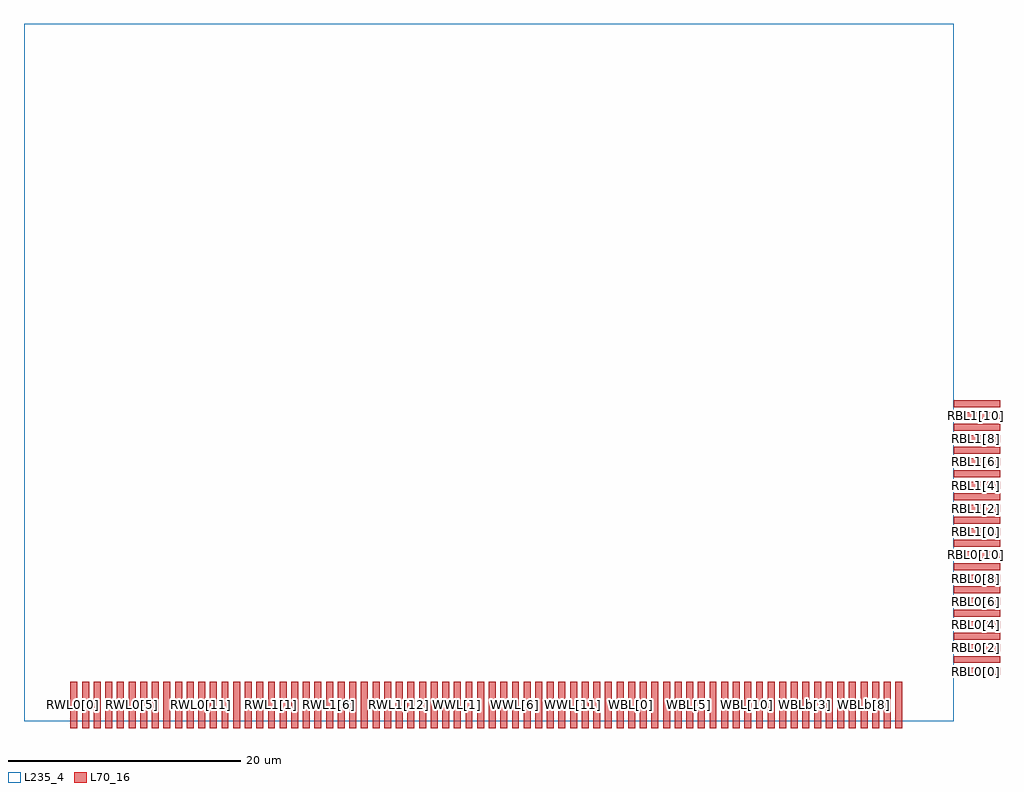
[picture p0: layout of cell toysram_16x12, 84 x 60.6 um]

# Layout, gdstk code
import gdstk
lib = gdstk.Library(unit=1e-6, precision=1e-09)
def R(c, l, rs):  # rectangles x0, y0, x1, y1
    for r in rs: c.add(gdstk.rectangle(r[:2], r[2:], *l))
L70_16 = (70, 16)
L235_4 = (235, 4)

rwl0_0_ = lib.new_cell('RWL0[0]')
R(rwl0_0_, L70_16, [(4,-0.6,4.6,3.4)])

rwl0_1_ = lib.new_cell('RWL0[1]')
R(rwl0_1_, L70_16, [(5,-0.6,5.6,3.4)])

rwl0_2_ = lib.new_cell('RWL0[2]')
R(rwl0_2_, L70_16, [(6,-0.6,6.6,3.4)])

rwl0_3_ = lib.new_cell('RWL0[3]')
R(rwl0_3_, L70_16, [(7,-0.6,7.6,3.4)])

rwl0_4_ = lib.new_cell('RWL0[4]')
R(rwl0_4_, L70_16, [(8,-0.6,8.6,3.4)])

rwl0_5_ = lib.new_cell('RWL0[5]')
R(rwl0_5_, L70_16, [(9,-0.6,9.6,3.4)])

rwl0_6_ = lib.new_cell('RWL0[6]')
R(rwl0_6_, L70_16, [(10,-0.6,10.6,3.4)])

rwl0_7_ = lib.new_cell('RWL0[7]')
R(rwl0_7_, L70_16, [(11,-0.6,11.6,3.4)])

rwl0_8_ = lib.new_cell('RWL0[8]')
R(rwl0_8_, L70_16, [(12,-0.6,12.6,3.4)])

rwl0_9_ = lib.new_cell('RWL0[9]')
R(rwl0_9_, L70_16, [(13,-0.6,13.6,3.4)])

rwl0_10_ = lib.new_cell('RWL0[10]')
R(rwl0_10_, L70_16, [(14,-0.6,14.6,3.4)])

rwl0_11_ = lib.new_cell('RWL0[11]')
R(rwl0_11_, L70_16, [(15,-0.6,15.6,3.4)])

rwl0_12_ = lib.new_cell('RWL0[12]')
R(rwl0_12_, L70_16, [(16,-0.6,16.6,3.4)])

rwl0_13_ = lib.new_cell('RWL0[13]')
R(rwl0_13_, L70_16, [(17,-0.6,17.6,3.4)])

rwl0_14_ = lib.new_cell('RWL0[14]')
R(rwl0_14_, L70_16, [(18,-0.6,18.6,3.4)])

rwl0_15_ = lib.new_cell('RWL0[15]')
R(rwl0_15_, L70_16, [(19,-0.6,19.6,3.4)])

rwl1_0_ = lib.new_cell('RWL1[0]')
R(rwl1_0_, L70_16, [(20,-0.6,20.6,3.4)])

rwl1_1_ = lib.new_cell('RWL1[1]')
R(rwl1_1_, L70_16, [(21,-0.6,21.6,3.4)])

rwl1_2_ = lib.new_cell('RWL1[2]')
R(rwl1_2_, L70_16, [(22,-0.6,22.6,3.4)])

rwl1_3_ = lib.new_cell('RWL1[3]')
R(rwl1_3_, L70_16, [(23,-0.6,23.6,3.4)])

rwl1_4_ = lib.new_cell('RWL1[4]')
R(rwl1_4_, L70_16, [(24,-0.6,24.6,3.4)])

rwl1_5_ = lib.new_cell('RWL1[5]')
R(rwl1_5_, L70_16, [(25,-0.6,25.6,3.4)])

rwl1_6_ = lib.new_cell('RWL1[6]')
R(rwl1_6_, L70_16, [(26,-0.6,26.6,3.4)])

rwl1_7_ = lib.new_cell('RWL1[7]')
R(rwl1_7_, L70_16, [(27,-0.6,27.6,3.4)])

rwl1_8_ = lib.new_cell('RWL1[8]')
R(rwl1_8_, L70_16, [(28,-0.6,28.6,3.4)])

rwl1_9_ = lib.new_cell('RWL1[9]')
R(rwl1_9_, L70_16, [(29,-0.6,29.6,3.4)])

rwl1_10_ = lib.new_cell('RWL1[10]')
R(rwl1_10_, L70_16, [(30,-0.6,30.6,3.4)])

rwl1_11_ = lib.new_cell('RWL1[11]')
R(rwl1_11_, L70_16, [(31,-0.6,31.6,3.4)])

rwl1_12_ = lib.new_cell('RWL1[12]')
R(rwl1_12_, L70_16, [(32,-0.6,32.6,3.4)])

rwl1_13_ = lib.new_cell('RWL1[13]')
R(rwl1_13_, L70_16, [(33,-0.6,33.6,3.4)])

rwl1_14_ = lib.new_cell('RWL1[14]')
R(rwl1_14_, L70_16, [(34,-0.6,34.6,3.4)])

rwl1_15_ = lib.new_cell('RWL1[15]')
R(rwl1_15_, L70_16, [(35,-0.6,35.6,3.4)])

wwl_0_ = lib.new_cell('WWL[0]')
R(wwl_0_, L70_16, [(36,-0.6,36.6,3.4)])

wwl_1_ = lib.new_cell('WWL[1]')
R(wwl_1_, L70_16, [(37,-0.6,37.6,3.4)])

wwl_2_ = lib.new_cell('WWL[2]')
R(wwl_2_, L70_16, [(38,-0.6,38.6,3.4)])

wwl_3_ = lib.new_cell('WWL[3]')
R(wwl_3_, L70_16, [(39,-0.6,39.6,3.4)])

wwl_4_ = lib.new_cell('WWL[4]')
R(wwl_4_, L70_16, [(40,-0.6,40.6,3.4)])

wwl_5_ = lib.new_cell('WWL[5]')
R(wwl_5_, L70_16, [(41,-0.6,41.6,3.4)])

wwl_6_ = lib.new_cell('WWL[6]')
R(wwl_6_, L70_16, [(42,-0.6,42.6,3.4)])

wwl_7_ = lib.new_cell('WWL[7]')
R(wwl_7_, L70_16, [(43,-0.6,43.6,3.4)])

wwl_8_ = lib.new_cell('WWL[8]')
R(wwl_8_, L70_16, [(44,-0.6,44.6,3.4)])

wwl_9_ = lib.new_cell('WWL[9]')
R(wwl_9_, L70_16, [(45,-0.6,45.6,3.4)])

wwl_10_ = lib.new_cell('WWL[10]')
R(wwl_10_, L70_16, [(46,-0.6,46.6,3.4)])

wwl_11_ = lib.new_cell('WWL[11]')
R(wwl_11_, L70_16, [(47,-0.6,47.6,3.4)])

wwl_12_ = lib.new_cell('WWL[12]')
R(wwl_12_, L70_16, [(48,-0.6,48.6,3.4)])

wwl_13_ = lib.new_cell('WWL[13]')
R(wwl_13_, L70_16, [(49,-0.6,49.6,3.4)])

wwl_14_ = lib.new_cell('WWL[14]')
R(wwl_14_, L70_16, [(50,-0.6,50.6,3.4)])

wwl_15_ = lib.new_cell('WWL[15]')
R(wwl_15_, L70_16, [(51,-0.6,51.6,3.4)])

rbl0_0_ = lib.new_cell('RBL0[0]')
R(rbl0_0_, L70_16, [(80,4,84,4.6)])

rbl0_1_ = lib.new_cell('RBL0[1]')
R(rbl0_1_, L70_16, [(80,5,84,5.6)])

rbl0_2_ = lib.new_cell('RBL0[2]')
R(rbl0_2_, L70_16, [(80,6,84,6.6)])

rbl0_3_ = lib.new_cell('RBL0[3]')
R(rbl0_3_, L70_16, [(80,7,84,7.6)])

rbl0_4_ = lib.new_cell('RBL0[4]')
R(rbl0_4_, L70_16, [(80,8,84,8.6)])

rbl0_5_ = lib.new_cell('RBL0[5]')
R(rbl0_5_, L70_16, [(80,9,84,9.6)])

rbl0_6_ = lib.new_cell('RBL0[6]')
R(rbl0_6_, L70_16, [(80,10,84,10.6)])

rbl0_7_ = lib.new_cell('RBL0[7]')
R(rbl0_7_, L70_16, [(80,11,84,11.6)])

rbl0_8_ = lib.new_cell('RBL0[8]')
R(rbl0_8_, L70_16, [(80,12,84,12.6)])

rbl0_9_ = lib.new_cell('RBL0[9]')
R(rbl0_9_, L70_16, [(80,13,84,13.6)])

rbl0_10_ = lib.new_cell('RBL0[10]')
R(rbl0_10_, L70_16, [(80,14,84,14.6)])

rbl0_11_ = lib.new_cell('RBL0[11]')
R(rbl0_11_, L70_16, [(80,15,84,15.6)])

rbl1_0_ = lib.new_cell('RBL1[0]')
R(rbl1_0_, L70_16, [(80,16,84,16.6)])

rbl1_1_ = lib.new_cell('RBL1[1]')
R(rbl1_1_, L70_16, [(80,17,84,17.6)])

rbl1_2_ = lib.new_cell('RBL1[2]')
R(rbl1_2_, L70_16, [(80,18,84,18.6)])

rbl1_3_ = lib.new_cell('RBL1[3]')
R(rbl1_3_, L70_16, [(80,19,84,19.6)])

rbl1_4_ = lib.new_cell('RBL1[4]')
R(rbl1_4_, L70_16, [(80,20,84,20.6)])

rbl1_5_ = lib.new_cell('RBL1[5]')
R(rbl1_5_, L70_16, [(80,21,84,21.6)])

rbl1_6_ = lib.new_cell('RBL1[6]')
R(rbl1_6_, L70_16, [(80,22,84,22.6)])

rbl1_7_ = lib.new_cell('RBL1[7]')
R(rbl1_7_, L70_16, [(80,23,84,23.6)])

rbl1_8_ = lib.new_cell('RBL1[8]')
R(rbl1_8_, L70_16, [(80,24,84,24.6)])

rbl1_9_ = lib.new_cell('RBL1[9]')
R(rbl1_9_, L70_16, [(80,25,84,25.6)])

rbl1_10_ = lib.new_cell('RBL1[10]')
R(rbl1_10_, L70_16, [(80,26,84,26.6)])

rbl1_11_ = lib.new_cell('RBL1[11]')
R(rbl1_11_, L70_16, [(80,27,84,27.6)])

wbl_0_ = lib.new_cell('WBL[0]')
R(wbl_0_, L70_16, [(52,-0.6,52.6,3.4)])

wbl_1_ = lib.new_cell('WBL[1]')
R(wbl_1_, L70_16, [(53,-0.6,53.6,3.4)])

wbl_2_ = lib.new_cell('WBL[2]')
R(wbl_2_, L70_16, [(54,-0.6,54.6,3.4)])

wbl_3_ = lib.new_cell('WBL[3]')
R(wbl_3_, L70_16, [(55,-0.6,55.6,3.4)])

wbl_4_ = lib.new_cell('WBL[4]')
R(wbl_4_, L70_16, [(56,-0.6,56.6,3.4)])

wbl_5_ = lib.new_cell('WBL[5]')
R(wbl_5_, L70_16, [(57,-0.6,57.6,3.4)])

wbl_6_ = lib.new_cell('WBL[6]')
R(wbl_6_, L70_16, [(58,-0.6,58.6,3.4)])

wbl_7_ = lib.new_cell('WBL[7]')
R(wbl_7_, L70_16, [(59,-0.6,59.6,3.4)])

wbl_8_ = lib.new_cell('WBL[8]')
R(wbl_8_, L70_16, [(60,-0.6,60.6,3.4)])

wbl_9_ = lib.new_cell('WBL[9]')
R(wbl_9_, L70_16, [(61,-0.6,61.6,3.4)])

wbl_10_ = lib.new_cell('WBL[10]')
R(wbl_10_, L70_16, [(62,-0.6,62.6,3.4)])

wbl_11_ = lib.new_cell('WBL[11]')
R(wbl_11_, L70_16, [(63,-0.6,63.6,3.4)])

wblb_0_ = lib.new_cell('WBLb[0]')
R(wblb_0_, L70_16, [(64,-0.6,64.6,3.4)])

wblb_1_ = lib.new_cell('WBLb[1]')
R(wblb_1_, L70_16, [(65,-0.6,65.6,3.4)])

wblb_2_ = lib.new_cell('WBLb[2]')
R(wblb_2_, L70_16, [(66,-0.6,66.6,3.4)])

wblb_3_ = lib.new_cell('WBLb[3]')
R(wblb_3_, L70_16, [(67,-0.6,67.6,3.4)])

wblb_4_ = lib.new_cell('WBLb[4]')
R(wblb_4_, L70_16, [(68,-0.6,68.6,3.4)])

wblb_5_ = lib.new_cell('WBLb[5]')
R(wblb_5_, L70_16, [(69,-0.6,69.6,3.4)])

wblb_6_ = lib.new_cell('WBLb[6]')
R(wblb_6_, L70_16, [(70,-0.6,70.6,3.4)])

wblb_7_ = lib.new_cell('WBLb[7]')
R(wblb_7_, L70_16, [(71,-0.6,71.6,3.4)])

wblb_8_ = lib.new_cell('WBLb[8]')
R(wblb_8_, L70_16, [(72,-0.6,72.6,3.4)])

wblb_9_ = lib.new_cell('WBLb[9]')
R(wblb_9_, L70_16, [(73,-0.6,73.6,3.4)])

wblb_10_ = lib.new_cell('WBLb[10]')
R(wblb_10_, L70_16, [(74,-0.6,74.6,3.4)])

wblb_11_ = lib.new_cell('WBLb[11]')
R(wblb_11_, L70_16, [(75,-0.6,75.6,3.4)])

toysram_16x12 = lib.new_cell('toysram_16x12')
R(toysram_16x12, L235_4, [(0,0,80,60)])
toysram_16x12.add(gdstk.Reference(rwl0_0_, (0,0)))
toysram_16x12.add(gdstk.Reference(rwl0_1_, (0,0)))
toysram_16x12.add(gdstk.Reference(rwl0_2_, (0,0)))
toysram_16x12.add(gdstk.Reference(rwl0_3_, (0,0)))
toysram_16x12.add(gdstk.Reference(rwl0_4_, (0,0)))
toysram_16x12.add(gdstk.Reference(rwl0_5_, (0,0)))
toysram_16x12.add(gdstk.Reference(rwl0_6_, (0,0)))
toysram_16x12.add(gdstk.Reference(rwl0_7_, (0,0)))
toysram_16x12.add(gdstk.Reference(rwl0_8_, (0,0)))
toysram_16x12.add(gdstk.Reference(rwl0_9_, (0,0)))
toysram_16x12.add(gdstk.Reference(rwl0_10_, (0,0)))
toysram_16x12.add(gdstk.Reference(rwl0_11_, (0,0)))
toysram_16x12.add(gdstk.Reference(rwl0_12_, (0,0)))
toysram_16x12.add(gdstk.Reference(rwl0_13_, (0,0)))
toysram_16x12.add(gdstk.Reference(rwl0_14_, (0,0)))
toysram_16x12.add(gdstk.Reference(rwl0_15_, (0,0)))
toysram_16x12.add(gdstk.Reference(rwl1_0_, (0,0)))
toysram_16x12.add(gdstk.Reference(rwl1_1_, (0,0)))
toysram_16x12.add(gdstk.Reference(rwl1_2_, (0,0)))
toysram_16x12.add(gdstk.Reference(rwl1_3_, (0,0)))
toysram_16x12.add(gdstk.Reference(rwl1_4_, (0,0)))
toysram_16x12.add(gdstk.Reference(rwl1_5_, (0,0)))
toysram_16x12.add(gdstk.Reference(rwl1_6_, (0,0)))
toysram_16x12.add(gdstk.Reference(rwl1_7_, (0,0)))
toysram_16x12.add(gdstk.Reference(rwl1_8_, (0,0)))
toysram_16x12.add(gdstk.Reference(rwl1_9_, (0,0)))
toysram_16x12.add(gdstk.Reference(rwl1_10_, (0,0)))
toysram_16x12.add(gdstk.Reference(rwl1_11_, (0,0)))
toysram_16x12.add(gdstk.Reference(rwl1_12_, (0,0)))
toysram_16x12.add(gdstk.Reference(rwl1_13_, (0,0)))
toysram_16x12.add(gdstk.Reference(rwl1_14_, (0,0)))
toysram_16x12.add(gdstk.Reference(rwl1_15_, (0,0)))
toysram_16x12.add(gdstk.Reference(wwl_0_, (0,0)))
toysram_16x12.add(gdstk.Reference(wwl_1_, (0,0)))
toysram_16x12.add(gdstk.Reference(wwl_2_, (0,0)))
toysram_16x12.add(gdstk.Reference(wwl_3_, (0,0)))
toysram_16x12.add(gdstk.Reference(wwl_4_, (0,0)))
toysram_16x12.add(gdstk.Reference(wwl_5_, (0,0)))
toysram_16x12.add(gdstk.Reference(wwl_6_, (0,0)))
toysram_16x12.add(gdstk.Reference(wwl_7_, (0,0)))
toysram_16x12.add(gdstk.Reference(wwl_8_, (0,0)))
toysram_16x12.add(gdstk.Reference(wwl_9_, (0,0)))
toysram_16x12.add(gdstk.Reference(wwl_10_, (0,0)))
toysram_16x12.add(gdstk.Reference(wwl_11_, (0,0)))
toysram_16x12.add(gdstk.Reference(wwl_12_, (0,0)))
toysram_16x12.add(gdstk.Reference(wwl_13_, (0,0)))
toysram_16x12.add(gdstk.Reference(wwl_14_, (0,0)))
toysram_16x12.add(gdstk.Reference(wwl_15_, (0,0)))
toysram_16x12.add(gdstk.Reference(rbl0_0_, (0,0)))
toysram_16x12.add(gdstk.Reference(rbl0_1_, (0,0)))
toysram_16x12.add(gdstk.Reference(rbl0_2_, (0,0)))
toysram_16x12.add(gdstk.Reference(rbl0_3_, (0,0)))
toysram_16x12.add(gdstk.Reference(rbl0_4_, (0,0)))
toysram_16x12.add(gdstk.Reference(rbl0_5_, (0,0)))
toysram_16x12.add(gdstk.Reference(rbl0_6_, (0,0)))
toysram_16x12.add(gdstk.Reference(rbl0_7_, (0,0)))
toysram_16x12.add(gdstk.Reference(rbl0_8_, (0,0)))
toysram_16x12.add(gdstk.Reference(rbl0_9_, (0,0)))
toysram_16x12.add(gdstk.Reference(rbl0_10_, (0,0)))
toysram_16x12.add(gdstk.Reference(rbl0_11_, (0,0)))
toysram_16x12.add(gdstk.Reference(rbl1_0_, (0,0)))
toysram_16x12.add(gdstk.Reference(rbl1_1_, (0,0)))
toysram_16x12.add(gdstk.Reference(rbl1_2_, (0,0)))
toysram_16x12.add(gdstk.Reference(rbl1_3_, (0,0)))
toysram_16x12.add(gdstk.Reference(rbl1_4_, (0,0)))
toysram_16x12.add(gdstk.Reference(rbl1_5_, (0,0)))
toysram_16x12.add(gdstk.Reference(rbl1_6_, (0,0)))
toysram_16x12.add(gdstk.Reference(rbl1_7_, (0,0)))
toysram_16x12.add(gdstk.Reference(rbl1_8_, (0,0)))
toysram_16x12.add(gdstk.Reference(rbl1_9_, (0,0)))
toysram_16x12.add(gdstk.Reference(rbl1_10_, (0,0)))
toysram_16x12.add(gdstk.Reference(rbl1_11_, (0,0)))
toysram_16x12.add(gdstk.Reference(wbl_0_, (0,0)))
toysram_16x12.add(gdstk.Reference(wbl_1_, (0,0)))
toysram_16x12.add(gdstk.Reference(wbl_2_, (0,0)))
toysram_16x12.add(gdstk.Reference(wbl_3_, (0,0)))
toysram_16x12.add(gdstk.Reference(wbl_4_, (0,0)))
toysram_16x12.add(gdstk.Reference(wbl_5_, (0,0)))
toysram_16x12.add(gdstk.Reference(wbl_6_, (0,0)))
toysram_16x12.add(gdstk.Reference(wbl_7_, (0,0)))
toysram_16x12.add(gdstk.Reference(wbl_8_, (0,0)))
toysram_16x12.add(gdstk.Reference(wbl_9_, (0,0)))
toysram_16x12.add(gdstk.Reference(wbl_10_, (0,0)))
toysram_16x12.add(gdstk.Reference(wbl_11_, (0,0)))
toysram_16x12.add(gdstk.Reference(wblb_0_, (0,0)))
toysram_16x12.add(gdstk.Reference(wblb_1_, (0,0)))
toysram_16x12.add(gdstk.Reference(wblb_2_, (0,0)))
toysram_16x12.add(gdstk.Reference(wblb_3_, (0,0)))
toysram_16x12.add(gdstk.Reference(wblb_4_, (0,0)))
toysram_16x12.add(gdstk.Reference(wblb_5_, (0,0)))
toysram_16x12.add(gdstk.Reference(wblb_6_, (0,0)))
toysram_16x12.add(gdstk.Reference(wblb_7_, (0,0)))
toysram_16x12.add(gdstk.Reference(wblb_8_, (0,0)))
toysram_16x12.add(gdstk.Reference(wblb_9_, (0,0)))
toysram_16x12.add(gdstk.Reference(wblb_10_, (0,0)))
toysram_16x12.add(gdstk.Reference(wblb_11_, (0,0)))
toysram_16x12.add(gdstk.Label('RWL0[0]', (4.3,1.4), layer=70, texttype=16))
toysram_16x12.add(gdstk.Label('RWL0[1]', (5.3,1.4), layer=70, texttype=16))
toysram_16x12.add(gdstk.Label('RWL0[2]', (6.3,1.4), layer=70, texttype=16))
toysram_16x12.add(gdstk.Label('RWL0[3]', (7.3,1.4), layer=70, texttype=16))
toysram_16x12.add(gdstk.Label('RWL0[4]', (8.3,1.4), layer=70, texttype=16))
toysram_16x12.add(gdstk.Label('RWL0[5]', (9.3,1.4), layer=70, texttype=16))
toysram_16x12.add(gdstk.Label('RWL0[6]', (10.3,1.4), layer=70, texttype=16))
toysram_16x12.add(gdstk.Label('RWL0[7]', (11.3,1.4), layer=70, texttype=16))
toysram_16x12.add(gdstk.Label('RWL0[8]', (12.3,1.4), layer=70, texttype=16))
toysram_16x12.add(gdstk.Label('RWL0[9]', (13.3,1.4), layer=70, texttype=16))
toysram_16x12.add(gdstk.Label('RWL0[10]', (14.3,1.4), layer=70, texttype=16))
toysram_16x12.add(gdstk.Label('RWL0[11]', (15.3,1.4), layer=70, texttype=16))
toysram_16x12.add(gdstk.Label('RWL0[12]', (16.3,1.4), layer=70, texttype=16))
toysram_16x12.add(gdstk.Label('RWL0[13]', (17.3,1.4), layer=70, texttype=16))
toysram_16x12.add(gdstk.Label('RWL0[14]', (18.3,1.4), layer=70, texttype=16))
toysram_16x12.add(gdstk.Label('RWL0[15]', (19.3,1.4), layer=70, texttype=16))
toysram_16x12.add(gdstk.Label('RWL1[0]', (20.3,1.4), layer=70, texttype=16))
toysram_16x12.add(gdstk.Label('RWL1[1]', (21.3,1.4), layer=70, texttype=16))
toysram_16x12.add(gdstk.Label('RWL1[2]', (22.3,1.4), layer=70, texttype=16))
toysram_16x12.add(gdstk.Label('RWL1[3]', (23.3,1.4), layer=70, texttype=16))
toysram_16x12.add(gdstk.Label('RWL1[4]', (24.3,1.4), layer=70, texttype=16))
toysram_16x12.add(gdstk.Label('RWL1[5]', (25.3,1.4), layer=70, texttype=16))
toysram_16x12.add(gdstk.Label('RWL1[6]', (26.3,1.4), layer=70, texttype=16))
toysram_16x12.add(gdstk.Label('RWL1[7]', (27.3,1.4), layer=70, texttype=16))
toysram_16x12.add(gdstk.Label('RWL1[8]', (28.3,1.4), layer=70, texttype=16))
toysram_16x12.add(gdstk.Label('RWL1[9]', (29.3,1.4), layer=70, texttype=16))
toysram_16x12.add(gdstk.Label('RWL1[10]', (30.3,1.4), layer=70, texttype=16))
toysram_16x12.add(gdstk.Label('RWL1[11]', (31.3,1.4), layer=70, texttype=16))
toysram_16x12.add(gdstk.Label('RWL1[12]', (32.3,1.4), layer=70, texttype=16))
toysram_16x12.add(gdstk.Label('RWL1[13]', (33.3,1.4), layer=70, texttype=16))
toysram_16x12.add(gdstk.Label('RWL1[14]', (34.3,1.4), layer=70, texttype=16))
toysram_16x12.add(gdstk.Label('RWL1[15]', (35.3,1.4), layer=70, texttype=16))
toysram_16x12.add(gdstk.Label('WWL[0]', (36.3,1.4), layer=70, texttype=16))
toysram_16x12.add(gdstk.Label('WWL[1]', (37.3,1.4), layer=70, texttype=16))
toysram_16x12.add(gdstk.Label('WWL[2]', (38.3,1.4), layer=70, texttype=16))
toysram_16x12.add(gdstk.Label('WWL[3]', (39.3,1.4), layer=70, texttype=16))
toysram_16x12.add(gdstk.Label('WWL[4]', (40.3,1.4), layer=70, texttype=16))
toysram_16x12.add(gdstk.Label('WWL[5]', (41.3,1.4), layer=70, texttype=16))
toysram_16x12.add(gdstk.Label('WWL[6]', (42.3,1.4), layer=70, texttype=16))
toysram_16x12.add(gdstk.Label('WWL[7]', (43.3,1.4), layer=70, texttype=16))
toysram_16x12.add(gdstk.Label('WWL[8]', (44.3,1.4), layer=70, texttype=16))
toysram_16x12.add(gdstk.Label('WWL[9]', (45.3,1.4), layer=70, texttype=16))
toysram_16x12.add(gdstk.Label('WWL[10]', (46.3,1.4), layer=70, texttype=16))
toysram_16x12.add(gdstk.Label('WWL[11]', (47.3,1.4), layer=70, texttype=16))
toysram_16x12.add(gdstk.Label('WWL[12]', (48.3,1.4), layer=70, texttype=16))
toysram_16x12.add(gdstk.Label('WWL[13]', (49.3,1.4), layer=70, texttype=16))
toysram_16x12.add(gdstk.Label('WWL[14]', (50.3,1.4), layer=70, texttype=16))
toysram_16x12.add(gdstk.Label('WWL[15]', (51.3,1.4), layer=70, texttype=16))
toysram_16x12.add(gdstk.Label('RBL0[0]', (82,4.3), layer=70, texttype=16))
toysram_16x12.add(gdstk.Label('RBL0[1]', (82,5.3), layer=70, texttype=16))
toysram_16x12.add(gdstk.Label('RBL0[2]', (82,6.3), layer=70, texttype=16))
toysram_16x12.add(gdstk.Label('RBL0[3]', (82,7.3), layer=70, texttype=16))
toysram_16x12.add(gdstk.Label('RBL0[4]', (82,8.3), layer=70, texttype=16))
toysram_16x12.add(gdstk.Label('RBL0[5]', (82,9.3), layer=70, texttype=16))
toysram_16x12.add(gdstk.Label('RBL0[6]', (82,10.3), layer=70, texttype=16))
toysram_16x12.add(gdstk.Label('RBL0[7]', (82,11.3), layer=70, texttype=16))
toysram_16x12.add(gdstk.Label('RBL0[8]', (82,12.3), layer=70, texttype=16))
toysram_16x12.add(gdstk.Label('RBL0[9]', (82,13.3), layer=70, texttype=16))
toysram_16x12.add(gdstk.Label('RBL0[10]', (82,14.3), layer=70, texttype=16))
toysram_16x12.add(gdstk.Label('RBL0[11]', (82,15.3), layer=70, texttype=16))
toysram_16x12.add(gdstk.Label('RBL1[0]', (82,16.3), layer=70, texttype=16))
toysram_16x12.add(gdstk.Label('RBL1[1]', (82,17.3), layer=70, texttype=16))
toysram_16x12.add(gdstk.Label('RBL1[2]', (82,18.3), layer=70, texttype=16))
toysram_16x12.add(gdstk.Label('RBL1[3]', (82,19.3), layer=70, texttype=16))
toysram_16x12.add(gdstk.Label('RBL1[4]', (82,20.3), layer=70, texttype=16))
toysram_16x12.add(gdstk.Label('RBL1[5]', (82,21.3), layer=70, texttype=16))
toysram_16x12.add(gdstk.Label('RBL1[6]', (82,22.3), layer=70, texttype=16))
toysram_16x12.add(gdstk.Label('RBL1[7]', (82,23.3), layer=70, texttype=16))
toysram_16x12.add(gdstk.Label('RBL1[8]', (82,24.3), layer=70, texttype=16))
toysram_16x12.add(gdstk.Label('RBL1[9]', (82,25.3), layer=70, texttype=16))
toysram_16x12.add(gdstk.Label('RBL1[10]', (82,26.3), layer=70, texttype=16))
toysram_16x12.add(gdstk.Label('RBL1[11]', (82,27.3), layer=70, texttype=16))
toysram_16x12.add(gdstk.Label('WBL[0]', (52.3,1.4), layer=70, texttype=16))
toysram_16x12.add(gdstk.Label('WBL[1]', (53.3,1.4), layer=70, texttype=16))
toysram_16x12.add(gdstk.Label('WBL[2]', (54.3,1.4), layer=70, texttype=16))
toysram_16x12.add(gdstk.Label('WBL[3]', (55.3,1.4), layer=70, texttype=16))
toysram_16x12.add(gdstk.Label('WBL[4]', (56.3,1.4), layer=70, texttype=16))
toysram_16x12.add(gdstk.Label('WBL[5]', (57.3,1.4), layer=70, texttype=16))
toysram_16x12.add(gdstk.Label('WBL[6]', (58.3,1.4), layer=70, texttype=16))
toysram_16x12.add(gdstk.Label('WBL[7]', (59.3,1.4), layer=70, texttype=16))
toysram_16x12.add(gdstk.Label('WBL[8]', (60.3,1.4), layer=70, texttype=16))
toysram_16x12.add(gdstk.Label('WBL[9]', (61.3,1.4), layer=70, texttype=16))
toysram_16x12.add(gdstk.Label('WBL[10]', (62.3,1.4), layer=70, texttype=16))
toysram_16x12.add(gdstk.Label('WBL[11]', (63.3,1.4), layer=70, texttype=16))
toysram_16x12.add(gdstk.Label('WBLb[0]', (64.3,1.4), layer=70, texttype=16))
toysram_16x12.add(gdstk.Label('WBLb[1]', (65.3,1.4), layer=70, texttype=16))
toysram_16x12.add(gdstk.Label('WBLb[2]', (66.3,1.4), layer=70, texttype=16))
toysram_16x12.add(gdstk.Label('WBLb[3]', (67.3,1.4), layer=70, texttype=16))
toysram_16x12.add(gdstk.Label('WBLb[4]', (68.3,1.4), layer=70, texttype=16))
toysram_16x12.add(gdstk.Label('WBLb[5]', (69.3,1.4), layer=70, texttype=16))
toysram_16x12.add(gdstk.Label('WBLb[6]', (70.3,1.4), layer=70, texttype=16))
toysram_16x12.add(gdstk.Label('WBLb[7]', (71.3,1.4), layer=70, texttype=16))
toysram_16x12.add(gdstk.Label('WBLb[8]', (72.3,1.4), layer=70, texttype=16))
toysram_16x12.add(gdstk.Label('WBLb[9]', (73.3,1.4), layer=70, texttype=16))
toysram_16x12.add(gdstk.Label('WBLb[10]', (74.3,1.4), layer=70, texttype=16))
toysram_16x12.add(gdstk.Label('WBLb[11]', (75.3,1.4), layer=70, texttype=16))

lib.write_gds('toysram_16x12.gds')
